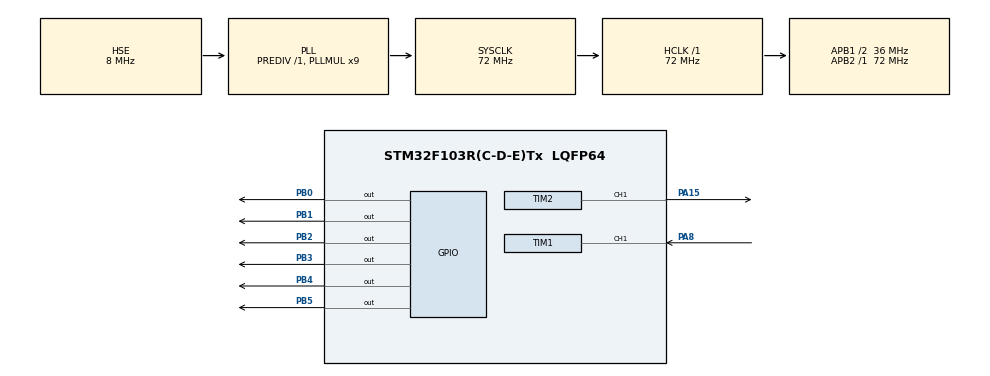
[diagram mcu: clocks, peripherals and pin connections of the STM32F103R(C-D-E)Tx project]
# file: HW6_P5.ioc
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Mcu.Family=STM32F1
Mcu.Name=STM32F103R(C-D-E)Tx
Mcu.Package=LQFP64
NVIC.PriorityGroup=NVIC_PRIORITYGROUP_4
NVIC.TIM1_CC_IRQn=true\:0\:0\:false\:false\:true\:true\:true\:true
NVIC.TIM1_UP_IRQn=true\:0\:0\:false\:false\:true\:true\:true\:true
PA13.Mode=Serial_Wire
PA13.Signal=SYS_JTMS-SWDIO
PA14.Mode=Serial_Wire
PA14.Signal=SYS_JTCK-SWCLK
PA15.Signal=S_TIM2_CH1_ETR
PA8.Signal=S_TIM1_CH1
PB0.Signal=GPIO_Output
PB1.Signal=GPIO_Output
PB2.Signal=GPIO_Output
PB3.Signal=GPIO_Output
PB4.Signal=GPIO_Output
PB5.Signal=GPIO_Output
PD0-OSC_IN.Mode=HSE-External-Oscillator
PD0-OSC_IN.Signal=RCC_OSC_IN
PD1-OSC_OUT.Mode=HSE-External-Oscillator
PD1-OSC_OUT.Signal=RCC_OSC_OUT
ProjectManager.HeapSize=0x200
ProjectManager.StackSize=0x400
ProjectManager.TargetToolchain=MDK-ARM V5.32
RCC.ADCPresc=RCC_ADCPCLK2_DIV6
RCC.AHBFreq_Value=72000000
RCC.APB1CLKDivider=RCC_HCLK_DIV2
RCC.APB1Freq_Value=36000000
RCC.APB1TimFreq_Value=72000000
RCC.APB2Freq_Value=72000000
RCC.APB2TimFreq_Value=72000000
RCC.HCLKFreq_Value=72000000
RCC.PLLMUL=RCC_PLL_MUL9
RCC.PLLSourceVirtual=RCC_PLLSOURCE_HSE
RCC.SYSCLKFreq_VALUE=72000000
RCC.SYSCLKSource=RCC_SYSCLKSOURCE_PLLCLK
RCC.USBFreq_Value=72000000
SH.S_TIM1_CH1.0=TIM1_CH1,Input_Capture1_from_TI1
SH.S_TIM2_CH1_ETR.0=TIM2_CH1,PWM Generation1 CH1
TIM1.Channel-Input_Capture1_from_TI1=TIM_CHANNEL_1
TIM1.Prescaler=71
TIM2.Channel-PWM\ Generation1\ CH1=TIM_CHANNEL_1
TIM2.Period=19999
TIM2.Prescaler=71
TIM2.Pulse-PWM\ Generation1\ CH1=10000
VP_TIM1_VS_ClockSourceINT.Mode=Internal
VP_TIM2_VS_ClockSourceINT.Mode=Internal
board=custom

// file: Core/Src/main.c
/* USER CODE BEGIN Header */
/**
  ******************************************************************************
  * @file           : main.c
  * @brief          : Main program body
  ******************************************************************************
  * @attention
  *
  * Copyright (c) 2026 STMicroelectronics.
  * All rights reserved.
  *
  * This software is licensed under terms that can be found in the LICENSE file
  * in the root directory of this software component.
  * If no LICENSE file comes with this software, it is provided AS-IS.
  *
  ******************************************************************************
  */
/* USER CODE END Header */
#include "main.h"

/* USER CODE BEGIN Includes */
#include <stdio.h>
#include "lcd.h"
/* USER CODE END Includes */

TIM_HandleTypeDef htim1;
TIM_HandleTypeDef htim2;

/* USER CODE BEGIN PV */

char buffer[20];

#define STATE_WAITING_FOR_RISE1 0
#define STATE_WAITING_FOR_FALL  1
#define STATE_WAITING_FOR_RISE2 2
#define STATE_READY_FOR_CALC    3

volatile uint8_t captureState = STATE_WAITING_FOR_RISE1;
volatile uint16_t TIM1_overFlowCnt = 0;
volatile uint32_t T1 = 0, T2 = 0, T3 = 0;

float frequency = 0.0f;
float pulse_width_ms = 0.0f;
/* USER CODE END PV */

void SystemClock_Config(void);
static void MX_GPIO_Init(void);
static void MX_TIM2_Init(void);
static void MX_TIM1_Init(void);

/* USER CODE BEGIN 0 */
void HAL_TIM_IC_CaptureCallback(TIM_HandleTypeDef* htim)
{
    if (htim->Instance == TIM1 && htim->Channel == HAL_TIM_ACTIVE_CHANNEL_1)
    {
        if(captureState == STATE_WAITING_FOR_RISE1)
        {
            T1 = HAL_TIM_ReadCapturedValue(htim, TIM_CHANNEL_1);
            TIM1_overFlowCnt = 0;
            captureState = STATE_WAITING_FOR_FALL;

            // Bypass broken HAL macro with direct register access
            htim->Instance->CCER &= ~(TIM_CCER_CC1P | TIM_CCER_CC1NP);
            htim->Instance->CCER |= TIM_INPUTCHANNELPOLARITY_FALLING;
        }
        else if(captureState == STATE_WAITING_FOR_FALL)
        {
            T2 = HAL_TIM_ReadCapturedValue(htim, TIM_CHANNEL_1);
            captureState = STATE_WAITING_FOR_RISE2;

            // Bypass broken HAL macro with direct register access
            htim->Instance->CCER &= ~(TIM_CCER_CC1P | TIM_CCER_CC1NP);
            htim->Instance->CCER |= TIM_INPUTCHANNELPOLARITY_RISING;
        }
        else if(captureState == STATE_WAITING_FOR_RISE2)
        {
            T3 = HAL_TIM_ReadCapturedValue(htim, TIM_CHANNEL_1);
            captureState = STATE_READY_FOR_CALC;
            // Stop interrupts temporarily while calculating
            __HAL_TIM_DISABLE_IT(&htim1, TIM_IT_CC1);
        }
    }
}

void HAL_TIM_PeriodElapsedCallback(TIM_HandleTypeDef* htim)
{
    if (htim->Instance == TIM1) {
        TIM1_overFlowCnt++;
    }
}
/* USER CODE END 0 */

int main(void)
{

  /* USER CODE BEGIN 1 */
  Lcd_PortType ports[] = {GPIOB, GPIOB, GPIOB, GPIOB};
  Lcd_PinType pins[] = {GPIO_PIN_0, GPIO_PIN_1, GPIO_PIN_2, GPIO_PIN_3};
  uint32_t pclk2_freq = 0;
  /* USER CODE END 1 */

  /* MCU Configuration--------------------------------------------------------*/

  /* Reset of all peripherals, Initializes the Flash interface and the Systick. */
  HAL_Init();

  /* Configure the system clock */
  SystemClock_Config();

  /* Initialize all configured peripherals */
  MX_GPIO_Init();
  MX_TIM2_Init();
  MX_TIM1_Init();
  /* USER CODE BEGIN 2 */
  Lcd_HandleTypeDef lcd;
  lcd = Lcd_create(ports, pins, GPIOB, GPIO_PIN_4, GPIOB, GPIO_PIN_5, LCD_4_BIT_MODE);

  Lcd_clear(&lcd);
  HAL_TIM_PWM_Start(&htim2, TIM_CHANNEL_1);

  // Start TIM1 Input Capture and Overflow interrupts
  HAL_TIM_Base_Start_IT(&htim1);
  HAL_TIM_IC_Start_IT(&htim1, TIM_CHANNEL_1);
  /* USER CODE END 2 */

  /* Infinite loop */
  /* USER CODE BEGIN WHILE */
  while (1)
  {
        if(captureState == STATE_READY_FOR_CALC)
    {
			// --- ATOMIC BLOCK START ---
            __HAL_TIM_DISABLE_IT(&htim1, TIM_IT_CC1); // Disable capture interrupt

            uint32_t current_T1 = T1;
            uint32_t current_T2 = T2;
            uint32_t current_T3 = T3;
            uint16_t current_OVF = TIM1_overFlowCnt;

            __HAL_TIM_ENABLE_IT(&htim1, TIM_IT_CC1);  // Re-enable capture interrupt
			// --- ATOMIC BLOCK END ---
        uint32_t pulse_width_ticks = 0;
        uint32_t period_ticks = 0;

        // 1. Calculate Pulse Width (T2 - T1)
        if (current_T2 >= current_T1) {
                pulse_width_ticks = current_T2 - current_T1;
            } else {
                pulse_width_ticks = (65535 - current_T1) + current_T2;
            }

            if (current_T3 >= current_T1) {
                period_ticks = (current_T3 - current_T1) + (current_OVF * 65536);
            } else {
                period_ticks = ((65535 - current_T1) + current_T3) + ((current_OVF - 1) * 65536);
            }

        // 3. Math translation (Since Timer clock is 1MHz, 1 tick = 1 microsecond)
        if (period_ticks > 0) {
            frequency = 1000000.0f / period_ticks; // 1,000,000 us / period in us
        }

        // Convert pulse width ticks (microseconds) to milliseconds
        pulse_width_ms = pulse_width_ticks / 1000.0f;

        // 4. Update LCD (assuming your buffer and Lcd_ functions are ready)
        sprintf(buffer, "Freq: %.1f Hz  ", frequency);
        Lcd_cursor(&lcd, 0, 0);
        Lcd_string(&lcd, buffer);

        sprintf(buffer, "PW: %.1f ms    ", pulse_width_ms);
        Lcd_cursor(&lcd, 1, 0);
        Lcd_string(&lcd, buffer);

        // 5. Reset state and re-enable capture
        captureState = STATE_WAITING_FOR_RISE1;

        // Bypass broken HAL macro with direct register access
        htim1.Instance->CCER &= ~(TIM_CCER_CC1P | TIM_CCER_CC1NP);
        htim1.Instance->CCER |= TIM_INPUTCHANNELPOLARITY_RISING;

        __HAL_TIM_ENABLE_IT(&htim1, TIM_IT_CC1);
    }
    /* USER CODE END WHILE */

  }
}

void SystemClock_Config(void)
{
  RCC_OscInitTypeDef RCC_OscInitStruct = {0};
  RCC_ClkInitTypeDef RCC_ClkInitStruct = {0};

  /** Initializes the RCC Oscillators according to the specified parameters
  * in the RCC_OscInitTypeDef structure.
  */
  RCC_OscInitStruct.OscillatorType = RCC_OSCILLATORTYPE_HSE;
  RCC_OscInitStruct.HSEState = RCC_HSE_ON;
  RCC_OscInitStruct.HSEPredivValue = RCC_HSE_PREDIV_DIV1;
  RCC_OscInitStruct.HSIState = RCC_HSI_ON;
  RCC_OscInitStruct.PLL.PLLState = RCC_PLL_ON;
  RCC_OscInitStruct.PLL.PLLSource = RCC_PLLSOURCE_HSE;
  RCC_OscInitStruct.PLL.PLLMUL = RCC_PLL_MUL9;
  if (HAL_RCC_OscConfig(&RCC_OscInitStruct) != HAL_OK)
  {
    Error_Handler();
  }

  /** Initializes the CPU, AHB and APB buses clocks
  */
  RCC_ClkInitStruct.ClockType = RCC_CLOCKTYPE_HCLK|RCC_CLOCKTYPE_SYSCLK
                              |RCC_CLOCKTYPE_PCLK1|RCC_CLOCKTYPE_PCLK2;
  RCC_ClkInitStruct.SYSCLKSource = RCC_SYSCLKSOURCE_PLLCLK;
  RCC_ClkInitStruct.AHBCLKDivider = RCC_SYSCLK_DIV1;
  RCC_ClkInitStruct.APB1CLKDivider = RCC_HCLK_DIV2;
  RCC_ClkInitStruct.APB2CLKDivider = RCC_HCLK_DIV1;

  if (HAL_RCC_ClockConfig(&RCC_ClkInitStruct, FLASH_LATENCY_2) != HAL_OK)
  {
    Error_Handler();
  }
}

static void MX_TIM1_Init(void)
{

  TIM_ClockConfigTypeDef sClockSourceConfig = {0};
  TIM_MasterConfigTypeDef sMasterConfig = {0};
  TIM_IC_InitTypeDef sConfigIC = {0};

  htim1.Instance = TIM1;
  htim1.Init.Prescaler = 71;
  htim1.Init.CounterMode = TIM_COUNTERMODE_UP;
  htim1.Init.Period = 65535;
  htim1.Init.ClockDivision = TIM_CLOCKDIVISION_DIV1;
  htim1.Init.RepetitionCounter = 0;
  htim1.Init.AutoReloadPreload = TIM_AUTORELOAD_PRELOAD_DISABLE;
  if (HAL_TIM_Base_Init(&htim1) != HAL_OK)
  {
    Error_Handler();
  }
  sClockSourceConfig.ClockSource = TIM_CLOCKSOURCE_INTERNAL;
  if (HAL_TIM_ConfigClockSource(&htim1, &sClockSourceConfig) != HAL_OK)
  {
    Error_Handler();
  }
  if (HAL_TIM_IC_Init(&htim1) != HAL_OK)
  {
    Error_Handler();
  }
  sMasterConfig.MasterOutputTrigger = TIM_TRGO_RESET;
  sMasterConfig.MasterSlaveMode = TIM_MASTERSLAVEMODE_DISABLE;
  if (HAL_TIMEx_MasterConfigSynchronization(&htim1, &sMasterConfig) != HAL_OK)
  {
    Error_Handler();
  }
  sConfigIC.ICPolarity = TIM_INPUTCHANNELPOLARITY_RISING;
  sConfigIC.ICSelection = TIM_ICSELECTION_DIRECTTI;
  sConfigIC.ICPrescaler = TIM_ICPSC_DIV1;
  sConfigIC.ICFilter = 0;
  if (HAL_TIM_IC_ConfigChannel(&htim1, &sConfigIC, TIM_CHANNEL_1) != HAL_OK)
  {
    Error_Handler();
  }

}

static void MX_TIM2_Init(void)
{

  TIM_ClockConfigTypeDef sClockSourceConfig = {0};
  TIM_MasterConfigTypeDef sMasterConfig = {0};
  TIM_OC_InitTypeDef sConfigOC = {0};

  htim2.Instance = TIM2;
  htim2.Init.Prescaler = 71;
  htim2.Init.CounterMode = TIM_COUNTERMODE_UP;
  htim2.Init.Period = 19999;
  htim2.Init.ClockDivision = TIM_CLOCKDIVISION_DIV1;
  htim2.Init.AutoReloadPreload = TIM_AUTORELOAD_PRELOAD_DISABLE;
  if (HAL_TIM_Base_Init(&htim2) != HAL_OK)
  {
    Error_Handler();
  }
  sClockSourceConfig.ClockSource = TIM_CLOCKSOURCE_INTERNAL;
  if (HAL_TIM_ConfigClockSource(&htim2, &sClockSourceConfig) != HAL_OK)
  {
    Error_Handler();
  }
  if (HAL_TIM_PWM_Init(&htim2) != HAL_OK)
  {
    Error_Handler();
  }
  sMasterConfig.MasterOutputTrigger = TIM_TRGO_RESET;
  sMasterConfig.MasterSlaveMode = TIM_MASTERSLAVEMODE_DISABLE;
  if (HAL_TIMEx_MasterConfigSynchronization(&htim2, &sMasterConfig) != HAL_OK)
  {
    Error_Handler();
  }
  sConfigOC.OCMode = TIM_OCMODE_PWM1;
  sConfigOC.Pulse = 10000;
  sConfigOC.OCPolarity = TIM_OCPOLARITY_HIGH;
  sConfigOC.OCFastMode = TIM_OCFAST_DISABLE;
  if (HAL_TIM_PWM_ConfigChannel(&htim2, &sConfigOC, TIM_CHANNEL_1) != HAL_OK)
  {
    Error_Handler();
  }
  HAL_TIM_MspPostInit(&htim2);

}

static void MX_GPIO_Init(void)
{
  GPIO_InitTypeDef GPIO_InitStruct = {0};

  /* GPIO Ports Clock Enable */
  __HAL_RCC_GPIOD_CLK_ENABLE();
  __HAL_RCC_GPIOB_CLK_ENABLE();
  __HAL_RCC_GPIOA_CLK_ENABLE();

  /*Configure GPIO pin Output Level */
  HAL_GPIO_WritePin(GPIOB, GPIO_PIN_0|GPIO_PIN_1|GPIO_PIN_2|GPIO_PIN_3
                          |GPIO_PIN_4|GPIO_PIN_5, GPIO_PIN_RESET);

  /*Configure GPIO pins : PB0 PB1 PB2 PB3
                           PB4 PB5 */
  GPIO_InitStruct.Pin = GPIO_PIN_0|GPIO_PIN_1|GPIO_PIN_2|GPIO_PIN_3
                          |GPIO_PIN_4|GPIO_PIN_5;
  GPIO_InitStruct.Mode = GPIO_MODE_OUTPUT_PP;
  GPIO_InitStruct.Pull = GPIO_NOPULL;
  GPIO_InitStruct.Speed = GPIO_SPEED_FREQ_LOW;
  HAL_GPIO_Init(GPIOB, &GPIO_InitStruct);

}

void Error_Handler(void)
{
  __disable_irq();
  while (1)
  {
  }
}
